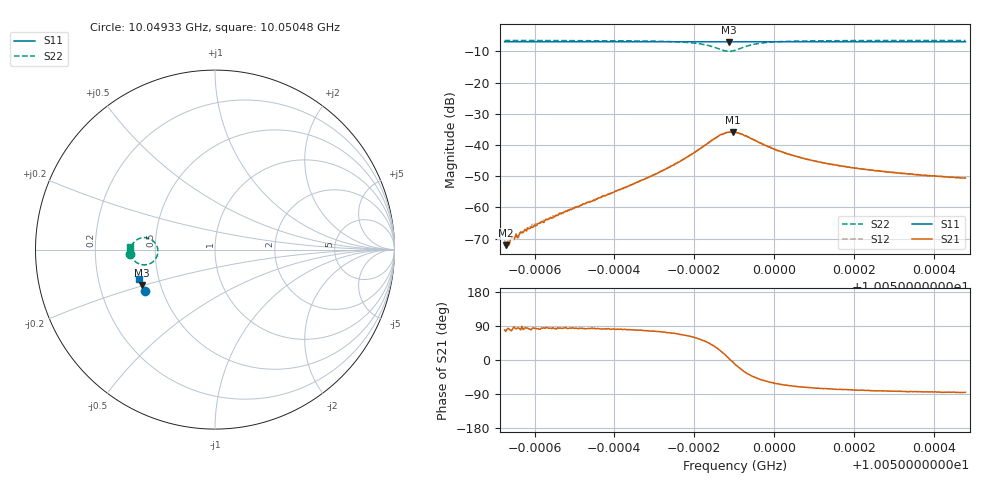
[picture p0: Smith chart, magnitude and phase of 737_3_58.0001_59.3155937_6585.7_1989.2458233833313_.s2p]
#  HZ  S  RI  R  50.00
! Rohde & Schwarz Vector Network Analyzer
! Rohde-Schwarz,ZNB20-2Port,1311601062101988,3.16
! Created: UTC 3/21/2024, 1:23:20 AM
! freq[Hz]  re:S11  im:S11  re:S21  im:S21  re:S12  im:S12  re:S22  im:S22
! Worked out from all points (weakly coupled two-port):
!   401 points, 10.04933 GHz to 10.05048 GHz, reference 50 ohm
!   highest |S21| = -35.80 dB at 10.0499 GHz (marker M1); lowest = -72.2 dB at 10.04933 GHz (marker M2)
!   lowest |S11| = -6.9 dB at 10.04989 GHz (marker M3), VSWR 2.65, Z = 19.7 - j9.74 ohm
!   |S11| at or under -10 dB: nowhere
!   |S22| runs from -9.9 to -6.5 dB; largest |S21 - S12| = 0.0012
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1.0049325e10  -0.3917 -0.2298  4.58e-05 0.00025  4.01e-05 0.000296  -0.4737 -0.0271
1.0049328e10  -0.3917 -0.2296  6.31e-05 0.000237  2.98e-05 0.000238  -0.4738 -0.0267
1.0049334e10  -0.3919 -0.2293  2.93e-05 0.000276  3.13e-05 0.000289  -0.4739 -0.0263
1.0049348e10  -0.3924 -0.2285  1.44e-05 0.000305  3.01e-05 0.000333  -0.4736 -0.025
1.0049354e10  -0.3925 -0.2282  5.08e-05 0.000372  3.66e-05 0.000354  -0.4736 -0.0245
1.004938e10  -0.3933 -0.2267  4.3e-05 0.000415  1.66e-05 0.00045  -0.4736 -0.022
1.00494e10  -0.3941 -0.2255  6.39e-05 0.000512  4.79e-05 0.000537  -0.4735 -0.0199
1.0049518e10  -0.3976 -0.2186  0.000114 0.00108  5.71e-05 0.00111  -0.4721 -0.00653
1.0049712e10  -0.4032 -0.2069  0.00094 0.00351  0.000782 0.00358  -0.4604 0.0285
1.0049772e10  -0.4048 -0.203  0.00238 0.00536  0.00206 0.00555  -0.4438 0.0483
1.0049839e10  -0.4061 -0.1987  0.00808 0.00773  0.00772 0.00815  -0.384 0.0662
1.0049862e10  -0.4061 -0.1974  0.0125 0.00645  0.012 0.00714  -0.3451 0.049
1.0049888e10  -0.4064 -0.1963  0.016 0.000835  0.0159 0.0019  -0.3181 -0.00795
1.0049896e10  -0.4066 -0.1961  0.0162 -0.00138  0.0162 -0.000477  -0.3213 -0.0308
1.0049902e10  -0.4068 -0.1959  0.0157 -0.00312  0.0158 -0.00214  -0.327 -0.0445
1.0049931e10  -0.408 -0.1948  0.0115 -0.00798  0.0119 -0.00703  -0.3751 -0.0828
1.0049972e10  -0.4097 -0.1925  0.00617 -0.00827  0.00678 -0.00793  -0.4268 -0.0779
1.0050029e10  -0.4115 -0.1889  0.00295 -0.00678  0.00341 -0.00663  -0.4557 -0.0545
1.0050096e10  -0.4132 -0.1848  0.00163 -0.00542  0.00194 -0.00538  -0.467 -0.035
1.0050188e10  -0.4157 -0.1792  0.000875 -0.00435  0.00114 -0.0043  -0.4721 -0.017
1.0050289e10  -0.4181 -0.1728  0.000503 -0.00365  0.000707 -0.00362  -0.4741 -0.00337
1.0050479e10  -0.4225 -0.1613  0.000241 -0.00295  0.000393 -0.00294  -0.4749 0.0162
